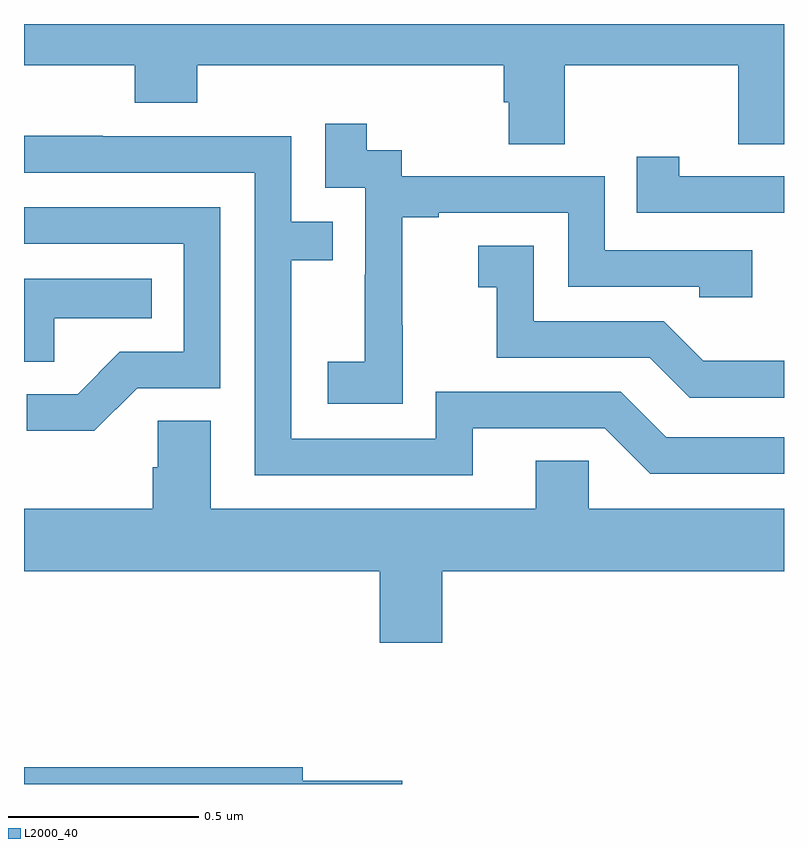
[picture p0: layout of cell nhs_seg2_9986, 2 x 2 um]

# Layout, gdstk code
import gdstk
lib = gdstk.Library(unit=1e-6, precision=1e-09)
def P(c, l, *ps):  # polygons
    for p in ps: c.add(gdstk.Polygon(p, *l))
L2000_40 = (2000, 40)

nhs_seg2_9986 = lib.new_cell('nhs_seg2_9986')
P(nhs_seg2_9986, L2000_40, [(237.423,591.692),(237.88,591.692),(237.88,591.484),(238,591.484),(238,591.8),(236,591.8),(236,591.692),(236.291,591.692),(236.291,591.593),(236.456,591.593),(236.456,591.692),(237.263,591.692),(237.263,591.594),(237.275,591.594),(237.275,591.484),(237.423,591.484)],
  [(236.997,591.007),(236.996,591.007),(236.996,591.291),(237.091,591.291),(237.091,591.303),(237.432,591.303),(237.432,591.108),(237.777,591.108),(237.777,591.081),(237.917,591.081),(237.917,591.204),(237.528,591.204),(237.528,591.399),(236.994,591.399),(236.994,591.468),(236.902,591.468),(236.902,591.538),(236.793,591.538),(236.793,591.369),(236.898,591.369),(236.898,591.14),(236.897,591.14),(236.897,590.911),(236.799,590.911),(236.799,590.801),(236.997,590.801)],
  [(237.181,590.736),(237.528,590.736),(237.648,590.616),(238,590.616),(238,590.712),(237.69,590.712),(237.57,590.832),(237.084,590.832),(237.084,590.709),(236.703,590.709),(236.703,591.178),(236.813,591.178),(236.813,591.279),(236.703,591.279),(236.703,591.504),(236.207,591.504),(236.207,591.506),(236,591.506),(236,591.408),(236.607,591.408),(236.607,590.613),(237.181,590.613)],
  [(238,591.399),(237.724,591.399),(237.724,591.451),(237.613,591.451),(237.613,591.303),(238,591.303)],
  [(236.298,590.841),(236.517,590.841),(236.517,591.318),(236,591.318),(236,591.222),(236.421,591.222),(236.421,590.937),(236.252,590.937),(236.141,590.826),(236.007,590.826),(236.007,590.729),(236.185,590.729)],
  [(238,590.914),(237.788,590.914),(237.684,591.018),(237.342,591.018),(237.342,591.217),(237.195,591.217),(237.195,591.107),(237.244,591.107),(237.244,590.922),(237.647,590.922),(237.752,590.817),(238,590.817)],
  [(236.079,591.026),(236.336,591.026),(236.336,591.13),(236,591.13),(236,590.911),(236.079,590.911)],
  [(237.1,590.36),(238,590.36),(238,590.524),(237.486,590.524),(237.486,590.651),(237.347,590.651),(237.347,590.524),(236.491,590.524),(236.491,590.756),(236.352,590.756),(236.352,590.633),(236.339,590.633),(236.339,590.524),(236,590.524),(236,590.36),(236.936,590.36),(236.936,590.172),(237.1,590.172)],
  [(236.995,589.808),(236.734,589.808),(236.734,589.844),(236,589.844),(236,589.8),(236.995,589.8)])

lib.write_gds('nhs_seg2_9986.gds')
